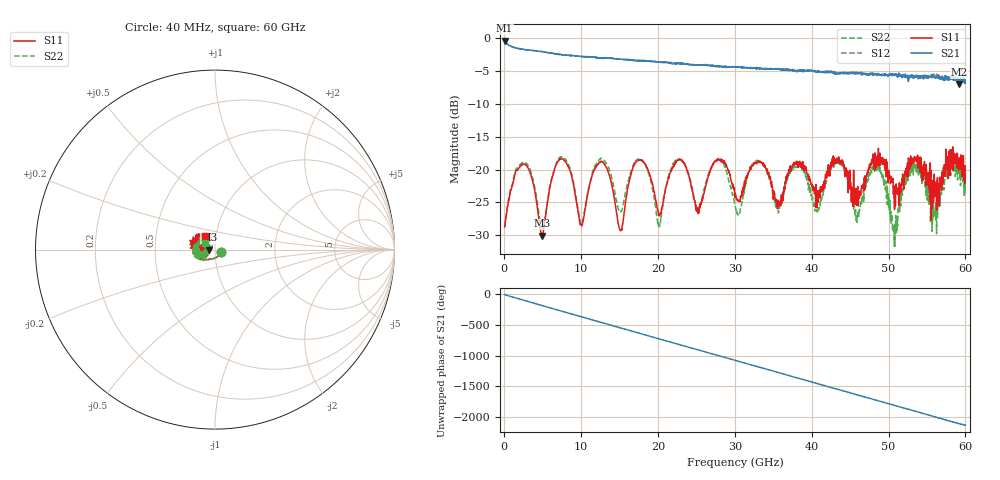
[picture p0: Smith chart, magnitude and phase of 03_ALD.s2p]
! File created by 'SoftPlot +Plus+ Measurement Management Software'
! SoftPlot +Plus+ Measurement Management Software
! Start 40.000000 MHz  Stop 60.000000 GHz  Points 1601
# MHZ S RI R 50
! S-Parameter data, F S11 S21 S12 S22
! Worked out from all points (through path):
!   1601 points, 40 MHz to 60 GHz, reference 50 ohm
!   highest |S21| = -0.39 dB at 40 MHz (marker M1); lowest = -7.0 dB at 59.21 GHz (marker M2)
!   group delay of S21, straight-line fit = 98.7 ps
!   lowest |S11| = -30.1 dB at 4.874 GHz (marker M3), VSWR 1.06, Z = 47 - j0.0825 ohm
!   |S11| at or under -10 dB: start of sweep to end of sweep
!   |S22| runs from -31.7 to -18.1 dB; largest |S21 - S12| = 0.06
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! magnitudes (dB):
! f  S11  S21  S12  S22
! 40 MHz  -28.7  -0.4  -0.4  -28.5
! 2.626 GHz  -19.2  -1.8  -1.8  -18.9
! 4.874 GHz  -30.1  -2.1  -2.1  -29.1
! 7.385 GHz  -18.3  -2.5  -2.5  -18.1
! 10.05 GHz  -28.5  -2.9  -2.8  -28.2
! 12.63 GHz  -18.8  -3.1  -3.0  -18.3
! 15.07 GHz  -29.2  -3.2  -3.2  -26.4
! 17.43 GHz  -18.7  -3.5  -3.5  -18.4
! 20.05 GHz  -26.8  -3.7  -3.6  -28.4
! 22.56 GHz  -18.5  -3.8  -3.9  -18.5
! 25.15 GHz  -25.8  -4.1  -4.1  -25.9
! 27.85 GHz  -18.5  -4.3  -4.4  -18.5
! 30.02 GHz  -23.6  -4.4  -4.4  -25.3
! 32.91 GHz  -18.9  -4.7  -4.7  -18.9
! 35.57 GHz  -26.0  -4.7  -4.7  -26.0
! 40.03 GHz  -22.3  -4.9  -5.0  -24.2
! 43.4 GHz  -18.7  -5.3  -5.4  -18.9
! 45.87 GHz  -25.4  -5.4  -5.4  -27.8
! 48.27 GHz  -17.6  -5.5  -5.5  -19.8
! 50.03 GHz  -20.3  -5.7  -5.6  -26.0
! 59.21 GHz  -18.2  -7.0  -6.2  -20.6
! 60 GHz  -20.6  -6.9  -6.1  -23.2
